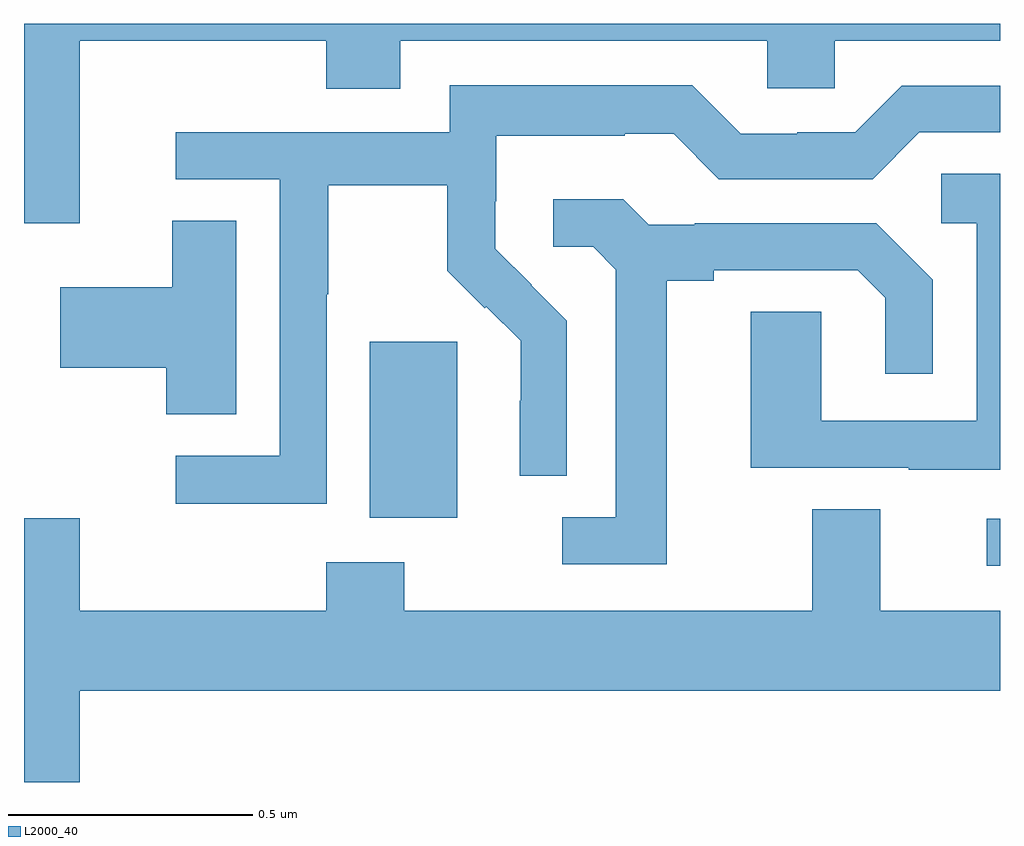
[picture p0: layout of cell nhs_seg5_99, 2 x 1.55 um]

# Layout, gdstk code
import gdstk
lib = gdstk.Library(unit=1e-6, precision=1e-09)
def R(c, l, rs):  # rectangles x0, y0, x1, y1
    for r in rs: c.add(gdstk.rectangle(r[:2], r[2:], *l))
def P(c, l, *ps):  # polygons
    for p in ps: c.add(gdstk.Polygon(p, *l))
L2000_40 = (2000, 40)

nhs_seg5_99 = lib.new_cell('nhs_seg5_99')
R(nhs_seg5_99, L2000_40, [(113.973,851.688,114,851.784), (112.709,851.786,112.888,852.147)])
P(nhs_seg5_99, L2000_40, [(112.114,852.764),(112.619,852.764),(112.619,852.665),(112.771,852.665),(112.771,852.764),(113.523,852.764),(113.523,852.666),(113.661,852.666),(113.661,852.764),(114,852.764),(114,852.799),(112,852.799),(112,852.39),(112.114,852.39)],
  [(112.62,852.244),(112.623,852.244),(112.623,852.468),(112.867,852.468),(112.867,852.293),(112.944,852.216),(112.947,852.219),(113.018,852.149),(113.018,852.026),(113.016,852.026),(113.016,851.872),(113.112,851.872),(113.112,852.19),(113.039,852.263),(113.04,852.264),(112.966,852.338),(112.966,852.435),(112.968,852.435),(112.968,852.569),(113.231,852.569),(113.231,852.573),(113.331,852.573),(113.424,852.48),(113.739,852.48),(113.835,852.576),(114,852.576),(114,852.672),(113.799,852.672),(113.703,852.576),(113.585,852.576),(113.585,852.573),(113.469,852.573),(113.369,852.673),(112.872,852.673),(112.872,852.576),(112.311,852.576),(112.311,852.48),(112.524,852.48),(112.524,851.913),(112.311,851.913),(112.311,851.815),(112.62,851.815)],
  [(114,852.491),(113.88,852.491),(113.88,852.39),(113.952,852.39),(113.952,851.985),(113.634,851.985),(113.634,852.209),(113.489,852.209),(113.489,851.889),(113.813,851.889),(113.813,851.885),(114,851.885)],
  [(113.317,852.272),(113.413,852.272),(113.413,852.294),(113.708,852.294),(113.765,852.237),(113.765,852.081),(113.862,852.081),(113.862,852.274),(113.746,852.39),(113.374,852.39),(113.374,852.387),(113.28,852.387),(113.228,852.439),(113.085,852.439),(113.085,852.342),(113.166,852.342),(113.213,852.295),(113.213,851.787),(113.103,851.787),(113.103,851.691),(113.317,851.691)],
  [(112.435,852.395),(112.304,852.395),(112.304,852.259),(112.074,852.259),(112.074,852.094),(112.292,852.094),(112.292,851.998),(112.435,851.998)],
  [(112.114,851.432),(114,851.432),(114,851.596),(113.755,851.596),(113.755,851.804),(113.615,851.804),(113.615,851.596),(112.779,851.596),(112.779,851.695),(112.619,851.695),(112.619,851.596),(112.114,851.596),(112.114,851.785),(112,851.785),(112,851.244),(112.114,851.244)])

lib.write_gds('nhs_seg5_99.gds')
